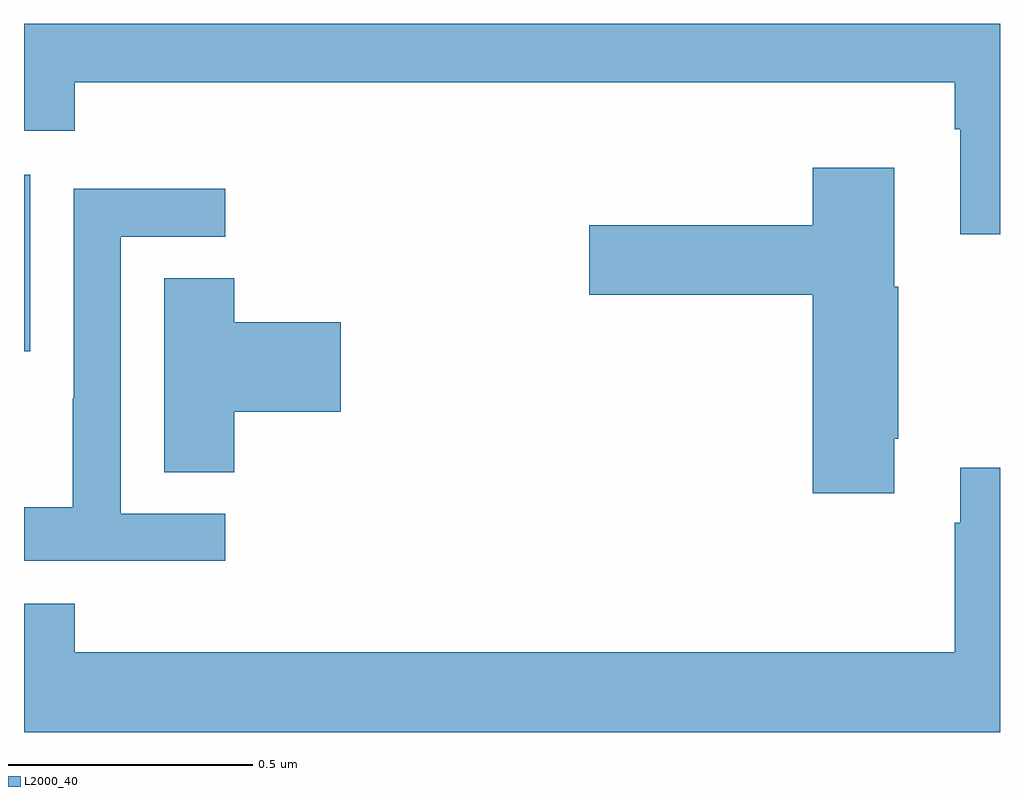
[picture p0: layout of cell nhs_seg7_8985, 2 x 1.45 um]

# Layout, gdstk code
import gdstk
lib = gdstk.Library(unit=1e-6, precision=1e-09)
def R(c, l, rs):  # rectangles x0, y0, x1, y1
    for r in rs: c.add(gdstk.rectangle(r[:2], r[2:], *l))
def P(c, l, *ps):  # polygons
    for p in ps: c.add(gdstk.Polygon(p, *l))
L2000_40 = (2000, 40)

nhs_seg7_8985 = lib.new_cell('nhs_seg7_8985')
R(nhs_seg7_8985, L2000_40, [(231,1069.329,231.013,1069.69)])
P(nhs_seg7_8985, L2000_40, [(233,1070),(231,1070),(231,1069.781),(231.104,1069.781),(231.104,1069.88),(232.907,1069.88),(232.907,1069.784),(232.919,1069.784),(232.919,1069.569),(233,1069.569)],
  [(232.783,1069.15),(232.791,1069.15),(232.791,1069.461),(232.783,1069.461),(232.783,1069.705),(232.616,1069.705),(232.616,1069.587),(232.158,1069.587),(232.158,1069.445),(232.616,1069.445),(232.616,1069.038),(232.783,1069.038)],
  [(231.412,1068.996),(231.198,1068.996),(231.198,1069.563),(231.412,1069.563),(231.412,1069.662),(231.102,1069.662),(231.102,1069.232),(231.1,1069.232),(231.1,1069.009),(231,1069.009),(231,1068.9),(231.412,1068.9)],
  [(231.431,1069.205),(231.649,1069.205),(231.649,1069.388),(231.431,1069.388),(231.431,1069.478),(231.287,1069.478),(231.287,1069.081),(231.431,1069.081)],
  [(233,1069.09),(232.919,1069.09),(232.919,1068.977),(232.907,1068.977),(232.907,1068.712),(231.104,1068.712),(231.104,1068.811),(231,1068.811),(231,1068.548),(233,1068.548)])

lib.write_gds('nhs_seg7_8985.gds')
